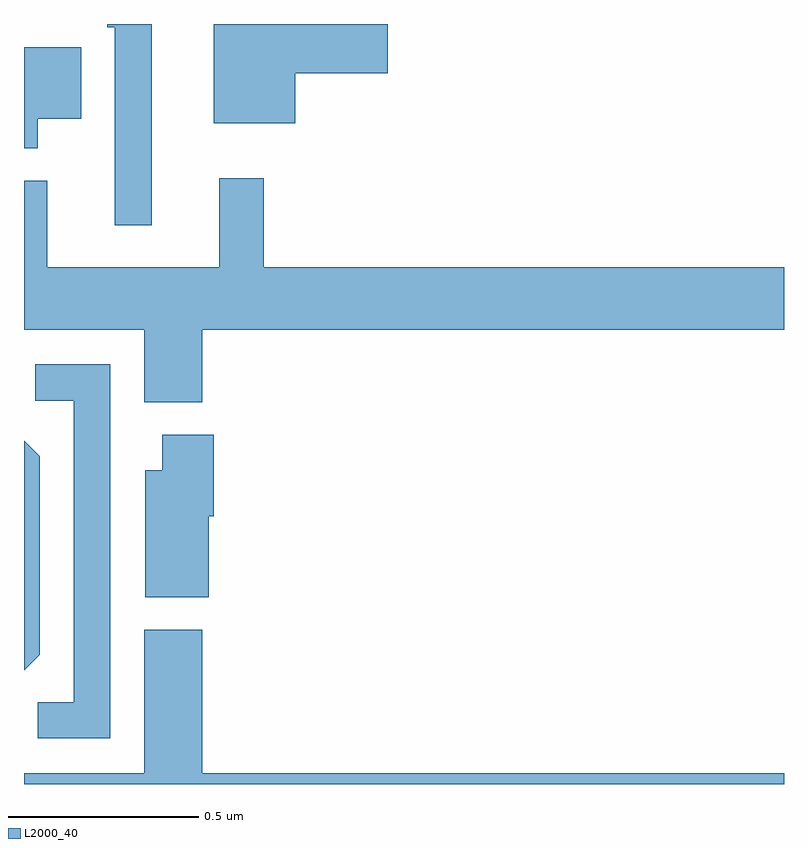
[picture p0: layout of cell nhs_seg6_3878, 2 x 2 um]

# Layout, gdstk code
import gdstk
lib = gdstk.Library(unit=1e-6, precision=1e-09)
def P(c, l, *ps):  # polygons
    for p in ps: c.add(gdstk.Polygon(p, *l))
L2000_40 = (2000, 40)

nhs_seg6_3878 = lib.new_cell('nhs_seg6_3878')
P(nhs_seg6_3878, L2000_40, [(163.714,921.371),(163.957,921.371),(163.957,921.5),(163.499,921.5),(163.499,921.239),(163.714,921.239)],
  [(163.336,921.5),(163.219,921.5),(163.219,921.491),(163.239,921.491),(163.239,920.97),(163.336,920.97)],
  [(163.036,921.251),(163.15,921.251),(163.15,921.439),(163,921.439),(163,921.173),(163.036,921.173)],
  [(163.469,920.696),(165,920.696),(165,920.86),(163.631,920.86),(163.631,921.094),(163.514,921.094),(163.514,920.86),(163.061,920.86),(163.061,921.088),(163,921.088),(163,920.696),(163.316,920.696),(163.316,920.504),(163.469,920.504)],
  [(163.227,920.604),(163.029,920.604),(163.029,920.508),(163.131,920.508),(163.131,919.715),(163.036,919.715),(163.036,919.62),(163.227,919.62)],
  [(163.486,920.205),(163.499,920.205),(163.499,920.419),(163.364,920.419),(163.364,920.326),(163.319,920.326),(163.319,919.991),(163.486,919.991)],
  [(163.041,919.84),(163.041,920.362),(163,920.403),(163,919.799)],
  [(165,919.528),(163.469,919.528),(163.469,919.906),(163.316,919.906),(163.316,919.528),(163,919.528),(163,919.5),(165,919.5)])

lib.write_gds('nhs_seg6_3878.gds')
